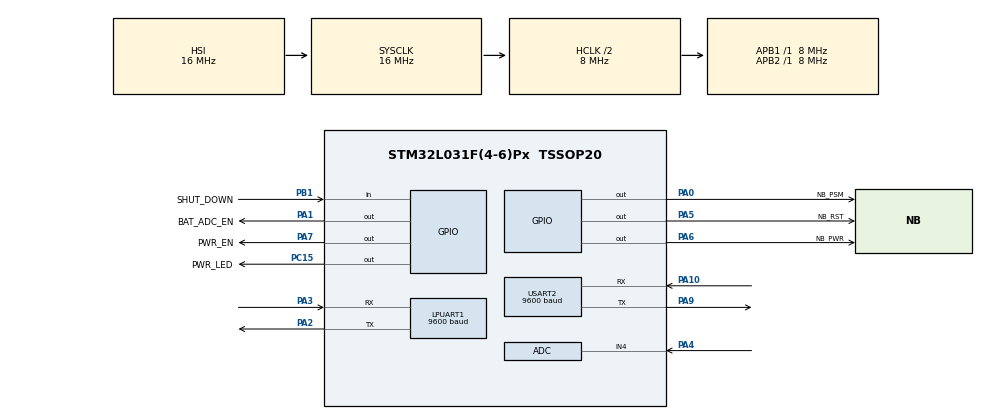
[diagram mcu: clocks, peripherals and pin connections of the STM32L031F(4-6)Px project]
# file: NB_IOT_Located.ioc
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ADC.ContinuousConvMode=ENABLE
ADC.LowPowerAutoPowerOff=ENABLE
ADC.LowPowerAutoWait=ENABLE
ADC.SamplingTime=ADC_SAMPLETIME_160CYCLES_5
LPUART1.BaudRate=9600
LPUART1.WordLength=UART_WORDLENGTH_8B
Mcu.Family=STM32L0
Mcu.Name=STM32L031F(4-6)Px
Mcu.Package=TSSOP20
NVIC.LPUART1_IRQn=true\:0\:0\:false\:false\:true\:true\:true\:true
NVIC.USART2_IRQn=true\:0\:0\:false\:false\:true\:true\:true\:true
PA0-CK_IN.GPIO_Label=NB_PSM
PA0-CK_IN.Signal=GPIO_Output
PA1.GPIO_Label=BAT_ADC_EN
PA1.Signal=GPIO_Output
PA10.Mode=Asynchronous
PA10.Signal=USART2_RX
PA13.Mode=Serial_Wire
PA13.Signal=SYS_SWDIO
PA14.Mode=Serial_Wire
PA14.Signal=SYS_SWCLK
PA2.Mode=Asynchronous
PA2.Signal=LPUART1_TX
PA3.Mode=Asynchronous
PA3.Signal=LPUART1_RX
PA4.Mode=IN4
PA4.Signal=ADC_IN4
PA5.GPIO_Label=NB_RST
PA5.Signal=GPIO_Output
PA6.GPIO_Label=NB_PWR
PA6.Signal=GPIO_Output
PA7.GPIO_Label=PWR_EN
PA7.Signal=GPIO_Output
PA9.Mode=Asynchronous
PA9.Signal=USART2_TX
PB1.GPIO_Label=SHUT_DOWN
PB1.GPIO_PuPd=GPIO_PULLUP
PB1.Signal=GPIO_Input
PC15-OSC32_OUT.GPIO_Label=PWR_LED
PC15-OSC32_OUT.PinState=GPIO_PIN_SET
PC15-OSC32_OUT.Signal=GPIO_Output
ProjectManager.HeapSize=0x200
ProjectManager.StackSize=0x400
ProjectManager.TargetToolchain=MDK-ARM V5
RCC.AHBCLKDivider=RCC_SYSCLK_DIV2
RCC.AHBFreq_Value=8000000
RCC.APB1Freq_Value=8000000
RCC.APB1TimFreq_Value=8000000
RCC.APB2Freq_Value=8000000
RCC.APB2TimFreq_Value=8000000
RCC.HCLKFreq_Value=8000000
RCC.HSE_VALUE=8000000
RCC.HSI16_VALUE=16000000
RCC.HSI_VALUE=16000000
RCC.LSE_VALUE=32768
RCC.MSI_VALUE=2097000
RCC.SYSCLKFreq_VALUE=16000000
RCC.SYSCLKSource=RCC_SYSCLKSOURCE_HSI
RCC.VCOOutputFreq_Value=48000000
USART2.BaudRate=9600
USART2.VirtualMode-Asynchronous=VM_ASYNC
VP_ADC_Vref_Input.Mode=IN-Vrefint
board=custom

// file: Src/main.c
/* USER CODE BEGIN Header */
/**
  ******************************************************************************
  * @file           : main.c
  * @brief          : Main program body
  ******************************************************************************
  * @attention
  *
  * Copyright (c) 2022 STMicroelectronics.
  * All rights reserved.
  *
  * This software is licensed under terms that can be found in the LICENSE file
  * in the root directory of this software component.
  * If no LICENSE file comes with this software, it is provided AS-IS.
  *
  ******************************************************************************
  */
/* USER CODE END Header */
#include "main.h"

/* USER CODE BEGIN Includes */
#include "stdio.h"
#include "string.h"
/* USER CODE END Includes */

 ADC_HandleTypeDef hadc;

UART_HandleTypeDef hlpuart1;
UART_HandleTypeDef huart2;

/* USER CODE BEGIN PV */
extern uint8_t Res2_Buf[256];
extern uint8_t Res2_Sign;
extern uint8_t Res2_Count;
extern uint8_t Res2;

extern uint8_t Res1_Buf[256];
extern uint8_t Res1_Sign;
extern uint8_t Res1_Count;
extern uint8_t Res1;

uint16_t BAT_DATA;
float BAT_Value;
float VDDA_Value;
uint16_t VREFINT_CAL;
uint16_t VREFINT_DATA;
uint8_t BAT_Q;
uint8_t NB_Signal_Value;

uint8_t NB_OBSERVERSP_CMD[50] = "AT+MIPLOBSERVERSP=0,";
uint8_t NB_DISCOVERRSP_CMD[50] = "AT+MIPLDISCOVERRSP=0,";
uint8_t NB_NOTIFY5700_CMD[60] = "AT+MIPLNOTIFY=0,";	// battery
uint8_t NB_NOTIFY5513_CMD[60] = "AT+MIPLNOTIFY=0,";	// latitude
uint8_t NB_NOTIFY5514_CMD[60] = "AT+MIPLNOTIFY=0,";	// longitude
uint8_t NB_OB3320_count;	// the number of bits of subscription request
uint8_t NB_OB3336_count;
uint8_t onenet_ok = 0;
uint32_t temp_int;
float temp_float;
uint32_t lat_int;	// get latitude dd
float lat_float;	// get latitude mm
uint32_t lng_int;	// get longitude dd
float lng_float;	// get longitude mm
uint8_t shutdown = 0;
/* USER CODE END PV */

void SystemClock_Config(void);
static void MX_GPIO_Init(void);
static void MX_ADC_Init(void);
static void MX_LPUART1_UART_Init(void);
static void MX_USART2_UART_Init(void);
/* USER CODE BEGIN PFP */
void Get_BAT_Value(void);
uint8_t Send_Cmd(uint8_t *cmd, uint8_t len, char *recdata);
void NB_Rec_Handler(void);
/* USER CODE END PFP */

/* USER CODE BEGIN 0 */
int fputc(int ch, FILE *f)
{
	while((USART2->ISR & 0X40) == 0);
	USART2->TDR = (uint8_t)ch;
	return ch;
}
/* USER CODE END 0 */

int main(void)
{
  /* USER CODE BEGIN 1 */
	uint16_t main_count = 0;
	uint8_t i = 0;
	float temp;
  /* USER CODE END 1 */

  /* MCU Configuration--------------------------------------------------------*/

  /* Reset of all peripherals, Initializes the Flash interface and the Systick. */
  HAL_Init();

  /* Configure the system clock */
  SystemClock_Config();

  /* Initialize all configured peripherals */
  MX_GPIO_Init();
  MX_ADC_Init();
  MX_LPUART1_UART_Init();
  MX_USART2_UART_Init();
  /* USER CODE BEGIN 2 */
  HAL_GPIO_WritePin(PWR_LED_GPIO_Port, PWR_LED_Pin, GPIO_PIN_RESET); // light up the power indicator
  HAL_GPIO_WritePin(GPIOA, PWR_EN_Pin, GPIO_PIN_SET); // maintain power
	while(HAL_GPIO_ReadPin(GPIOB, GPIO_PIN_1) == 0);
	HAL_GPIO_WritePin(GPIOA, NB_PWR_Pin, GPIO_PIN_SET);	// getting the bc20 module to power on
	HAL_Delay(600);
	HAL_GPIO_WritePin(GPIOA, NB_PWR_Pin, GPIO_PIN_RESET);
	HAL_GPIO_WritePin(GPIOA, NB_RST_Pin, GPIO_PIN_SET);	// getting the bc20 module to restart
	HAL_Delay(60);
	HAL_GPIO_WritePin(GPIOA, NB_RST_Pin, GPIO_PIN_RESET);
  HAL_Delay(10000);
	// verify that bc20 is normal
	while(Send_Cmd((uint8_t *)"AT\r\n", 4, "OK") != 0)
	{
		HAL_Delay(1000);
	}
	printf("received correctly\r\n");
	// close the echo
	while(Send_Cmd((uint8_t *)"ATE0\r\n", 6, "OK") != 0)
	{
		HAL_Delay(1000);
	}
	printf("the echo is disabled\r\n");
	// detect signal
	NB_Signal_Value = 0;
	while((NB_Signal_Value == 0) || (NB_Signal_Value == 99))
	{
		if(Send_Cmd((uint8_t *)"AT+CSQ\r\n", 8, "OK") == 0)
		{
			if(Res1_Buf[2] == '+')
			{
				if(Res1_Buf[9] == ',') // the signal value is in digits
				{
					NB_Signal_Value = Res1_Buf[8] - 0x30;
				}
				else if(Res1_Buf[10] == ',') // the signal value is ten digits
				{
					NB_Signal_Value = (Res1_Buf[8] - 0x30) * 10 + (Res1_Buf[9] - 0x30);
				}
			}
		}
		HAL_Delay(1000);
		// if power off is needed
		if(HAL_GPIO_ReadPin(GPIOB, GPIO_PIN_1) == 0) {
			HAL_GPIO_WritePin(PWR_LED_GPIO_Port, PWR_LED_Pin, GPIO_PIN_SET); // extinguish the power indicator
			while(HAL_GPIO_ReadPin(GPIOB, GPIO_PIN_1) == 0);
			HAL_GPIO_WritePin(GPIOA, PWR_EN_Pin, GPIO_PIN_RESET); // turn off power
		}
	}
	printf("NB_Signal_Value = %d\r\n", NB_Signal_Value);
	// wait until eps network is successfully registered
	while(Send_Cmd((uint8_t *)"AT+CEREG?\r\n", 11, "+CEREG: 0,1") != 0)
	{
		HAL_Delay(1000);
	}
	printf("the eps network is successfully registered\r\n");
	// wait for ps to attach
	while(Send_Cmd((uint8_t *)"AT+CGATT?\r\n", 11, "+CGATT: 1") != 0)
	{
		HAL_Delay(1000);
	}
	printf("the ps has attached\r\n");
	// turn on the GNSS power
	while(Send_Cmd((uint8_t *)"AT+QGNSSC=1\r\n", 13, "OK") != 0)
	{
		HAL_Delay(1000);
	}
	printf("the GNSS open command has been sent\r\n");
	// check whether the GNSS power supply is turned on
	while(Send_Cmd((uint8_t *)"AT+QGNSSC?\r\n", 12, "+QGNSSC: 1") != 0)
	{
		HAL_Delay(1000);
	}
	printf("the GNSS is powered on\r\n");
	// create communication suit instance
	Send_Cmd((uint8_t *)"AT+MIPLCREATE\r\n", 15, "OK");
	HAL_Delay(100);
	// add 3320 object
	Send_Cmd((uint8_t *)"AT+MIPLADDOBJ=0,3320,1,\"1\",1,0\r\n", 32, "OK");
	// add 3336 object
	Send_Cmd((uint8_t *)"AT+MIPLADDOBJ=0,3336,1,\"1\",2,0\r\n", 32, "OK");
	HAL_Delay(100);
	// send a registration request to OneNet
	Send_Cmd((uint8_t *)"AT+MIPLOPEN=0,86400\r\n", 21, "OK");
  /* USER CODE END 2 */

  /* Infinite loop */
  while (1)
  {

    /* USER CODE BEGIN 3 */
		if(Res2_Sign == 1)	// if data is sent by computer
		{
			// recieve the last byte and delay 10ms
			do {
				Res2++;
				HAL_Delay(1);
			} while(Res2 < 10);
			////////////////////////////
			Res2_Sign = 0;
			HAL_UART_Transmit(&hlpuart1, Res2_Buf, Res2_Count, 1000);	// send the received data to nb module
			Res2_Count = 0;
		}

		if(Res1_Sign == 1)	// if data is sent by bc20 module
		{
			// recieve the last byte and delay 10ms
			do {
				Res1++;
				HAL_Delay(1);
			} while(Res1 < 10);
			////////////////////////////
			Res1_Sign = 0;
			HAL_UART_Transmit(&huart2, Res1_Buf, Res1_Count, 1000);		// send the received data to serial assistant
			Res1_Count = 0;
			NB_Rec_Handler();
		}
		// if power off is needed
		if(HAL_GPIO_ReadPin(GPIOB, GPIO_PIN_1) == 0) {
			HAL_GPIO_WritePin(PWR_LED_GPIO_Port, PWR_LED_Pin, GPIO_PIN_SET); // extinguish the power indicator
			while(HAL_GPIO_ReadPin(GPIOB, GPIO_PIN_1) == 0);
			HAL_GPIO_WritePin(GPIOA, PWR_EN_Pin, GPIO_PIN_RESET); // turn off power
		}

		main_count++;
		HAL_Delay(0);
		if(main_count > 1000)
		{
			main_count = 0;
			Get_BAT_Value();
			temp = 0;
			for(i = 0; i < 10; i++)
			{
				Get_BAT_Value();
				temp += BAT_Value;
			}
			BAT_Value = temp / 10;
			if (BAT_Value > 4.1)
				BAT_Q = 100;
			else if(BAT_Value < 3.0)
			{
				BAT_Q = 0;
				shutdown++;
				if(shutdown > 2)
				{
					HAL_GPIO_WritePin(GPIOA, PWR_EN_Pin, GPIO_PIN_RESET); // turn off power
				}
			}
			else
			{
				BAT_Q = 100 - (4.1-BAT_Value) * 100 / 1.1;
			}
			if(onenet_ok == 2) // if it has successfully registered with onenet
			{
				NB_NOTIFY5700_CMD[33+NB_OB3320_count] = BAT_Q/100+0x30;
				NB_NOTIFY5700_CMD[34+NB_OB3320_count] = BAT_Q%100/10+0x30;
				NB_NOTIFY5700_CMD[35+NB_OB3320_count] = BAT_Q%10+0x30;
				Send_Cmd(NB_NOTIFY5700_CMD, 42+NB_OB3320_count, "OK");
				//
				HAL_UART_Transmit(&hlpuart1, (uint8_t *)"AT+QGNSSRD=\"NMEA/RMC\"\r\n", 23, 1000);
			}
			//printf("VDDA_Value = %.2f\r\n", VDDA_Value);
			//printf("BAT_Value = %.2f\r\n", BAT_Value);
			//printf("BAT_Q = %d\r\n", BAT_Q);
		}
  }
  /* USER CODE END 3 */
}

void SystemClock_Config(void)
{
  RCC_OscInitTypeDef RCC_OscInitStruct = {0};
  RCC_ClkInitTypeDef RCC_ClkInitStruct = {0};
  RCC_PeriphCLKInitTypeDef PeriphClkInit = {0};

  /** Configure the main internal regulator output voltage
  */
  __HAL_PWR_VOLTAGESCALING_CONFIG(PWR_REGULATOR_VOLTAGE_SCALE1);

  /** Initializes the RCC Oscillators according to the specified parameters
  * in the RCC_OscInitTypeDef structure.
  */
  RCC_OscInitStruct.OscillatorType = RCC_OSCILLATORTYPE_HSI;
  RCC_OscInitStruct.HSIState = RCC_HSI_ON;
  RCC_OscInitStruct.HSICalibrationValue = RCC_HSICALIBRATION_DEFAULT;
  RCC_OscInitStruct.PLL.PLLState = RCC_PLL_NONE;
  if (HAL_RCC_OscConfig(&RCC_OscInitStruct) != HAL_OK)
  {
    Error_Handler();
  }

  /** Initializes the CPU, AHB and APB buses clocks
  */
  RCC_ClkInitStruct.ClockType = RCC_CLOCKTYPE_HCLK|RCC_CLOCKTYPE_SYSCLK
                              |RCC_CLOCKTYPE_PCLK1|RCC_CLOCKTYPE_PCLK2;
  RCC_ClkInitStruct.SYSCLKSource = RCC_SYSCLKSOURCE_HSI;
  RCC_ClkInitStruct.AHBCLKDivider = RCC_SYSCLK_DIV2;
  RCC_ClkInitStruct.APB1CLKDivider = RCC_HCLK_DIV1;
  RCC_ClkInitStruct.APB2CLKDivider = RCC_HCLK_DIV1;

  if (HAL_RCC_ClockConfig(&RCC_ClkInitStruct, FLASH_LATENCY_0) != HAL_OK)
  {
    Error_Handler();
  }
  PeriphClkInit.PeriphClockSelection = RCC_PERIPHCLK_USART2|RCC_PERIPHCLK_LPUART1;
  PeriphClkInit.Usart2ClockSelection = RCC_USART2CLKSOURCE_PCLK1;
  PeriphClkInit.Lpuart1ClockSelection = RCC_LPUART1CLKSOURCE_PCLK1;
  if (HAL_RCCEx_PeriphCLKConfig(&PeriphClkInit) != HAL_OK)
  {
    Error_Handler();
  }
}

static void MX_ADC_Init(void)
{

  /* USER CODE BEGIN ADC_Init 0 */
	uint8_t i = 0;
  /* USER CODE END ADC_Init 0 */

  ADC_ChannelConfTypeDef sConfig = {0};

  /** Configure the global features of the ADC (Clock, Resolution, Data Alignment and number of conversion)
  */
  hadc.Instance = ADC1;
  hadc.Init.OversamplingMode = DISABLE;
  hadc.Init.ClockPrescaler = ADC_CLOCK_SYNC_PCLK_DIV2;
  hadc.Init.Resolution = ADC_RESOLUTION_12B;
  hadc.Init.SamplingTime = ADC_SAMPLETIME_160CYCLES_5;
  hadc.Init.ScanConvMode = ADC_SCAN_DIRECTION_FORWARD;
  hadc.Init.DataAlign = ADC_DATAALIGN_RIGHT;
  hadc.Init.ContinuousConvMode = ENABLE;
  hadc.Init.DiscontinuousConvMode = DISABLE;
  hadc.Init.ExternalTrigConvEdge = ADC_EXTERNALTRIGCONVEDGE_NONE;
  hadc.Init.ExternalTrigConv = ADC_SOFTWARE_START;
  hadc.Init.DMAContinuousRequests = DISABLE;
  hadc.Init.EOCSelection = ADC_EOC_SINGLE_CONV;
  hadc.Init.Overrun = ADC_OVR_DATA_PRESERVED;
  hadc.Init.LowPowerAutoWait = ENABLE;
  hadc.Init.LowPowerFrequencyMode = DISABLE;
  hadc.Init.LowPowerAutoPowerOff = ENABLE;
  if (HAL_ADC_Init(&hadc) != HAL_OK)
  {
    Error_Handler();
  }

  /** Configure for the selected ADC regular channel to be converted.
  */
  sConfig.Channel = ADC_CHANNEL_4;
  sConfig.Rank = ADC_RANK_CHANNEL_NUMBER;
  if (HAL_ADC_ConfigChannel(&hadc, &sConfig) != HAL_OK)
  {
    Error_Handler();
  }

  /** Configure for the selected ADC regular channel to be converted.
  */
  sConfig.Channel = ADC_CHANNEL_VREFINT;
  if (HAL_ADC_ConfigChannel(&hadc, &sConfig) != HAL_OK)
  {
    Error_Handler();
  }
  /* USER CODE BEGIN ADC_Init 2 */
	ADC1->CR |= ADC_CR_ADCAL;
	i = 0;
	while(((ADC1->ISR & ADC_ISR_EOCAL) != ADC_ISR_EOCAL) && (i < 10))
	{
		i++;
		HAL_Delay(1);
	}
	if(i == 10)
	{
		printf("ADC初始化校准失败!\r\n");
	}
	ADC1->ISR |= ADC_ISR_EOCAL;
	VREFINT_CAL = *(uint16_t *)0x1FF80078;
	ADC1->CR |= ADC_CR_ADSTART;
  /* USER CODE END ADC_Init 2 */

}

static void MX_LPUART1_UART_Init(void)
{

  hlpuart1.Instance = LPUART1;
  hlpuart1.Init.BaudRate = 9600;
  hlpuart1.Init.WordLength = UART_WORDLENGTH_8B;
  hlpuart1.Init.StopBits = UART_STOPBITS_1;
  hlpuart1.Init.Parity = UART_PARITY_NONE;
  hlpuart1.Init.Mode = UART_MODE_TX_RX;
  hlpuart1.Init.HwFlowCtl = UART_HWCONTROL_NONE;
  hlpuart1.Init.OneBitSampling = UART_ONE_BIT_SAMPLE_DISABLE;
  hlpuart1.AdvancedInit.AdvFeatureInit = UART_ADVFEATURE_NO_INIT;
  if (HAL_UART_Init(&hlpuart1) != HAL_OK)
  {
    Error_Handler();
  }
  /* USER CODE BEGIN LPUART1_Init 2 */
	__HAL_UART_ENABLE_IT(&hlpuart1, UART_IT_RXNE); // 打开串口1接收中断
  /* USER CODE END LPUART1_Init 2 */

}

static void MX_USART2_UART_Init(void)
{

  huart2.Instance = USART2;
  huart2.Init.BaudRate = 9600;
  huart2.Init.WordLength = UART_WORDLENGTH_8B;
  huart2.Init.StopBits = UART_STOPBITS_1;
  huart2.Init.Parity = UART_PARITY_NONE;
  huart2.Init.Mode = UART_MODE_TX_RX;
  huart2.Init.HwFlowCtl = UART_HWCONTROL_NONE;
  huart2.Init.OverSampling = UART_OVERSAMPLING_16;
  huart2.Init.OneBitSampling = UART_ONE_BIT_SAMPLE_DISABLE;
  huart2.AdvancedInit.AdvFeatureInit = UART_ADVFEATURE_NO_INIT;
  if (HAL_UART_Init(&huart2) != HAL_OK)
  {
    Error_Handler();
  }
  /* USER CODE BEGIN USART2_Init 2 */
  __HAL_UART_ENABLE_IT(&huart2, UART_IT_RXNE); // 打开串口2接收中断
  /* USER CODE END USART2_Init 2 */

}

static void MX_GPIO_Init(void)
{
  GPIO_InitTypeDef GPIO_InitStruct = {0};

  /* GPIO Ports Clock Enable */
  __HAL_RCC_GPIOC_CLK_ENABLE();
  __HAL_RCC_GPIOA_CLK_ENABLE();
  __HAL_RCC_GPIOB_CLK_ENABLE();

  /*Configure GPIO pin Output Level */
  HAL_GPIO_WritePin(PWR_LED_GPIO_Port, PWR_LED_Pin, GPIO_PIN_SET);

  /*Configure GPIO pin Output Level */
  HAL_GPIO_WritePin(GPIOA, NB_PSM_Pin|BAT_ADC_EN_Pin|NB_RST_Pin|NB_PWR_Pin
                          |PWR_EN_Pin, GPIO_PIN_RESET);

  /*Configure GPIO pin : PWR_LED_Pin */
  GPIO_InitStruct.Pin = PWR_LED_Pin;
  GPIO_InitStruct.Mode = GPIO_MODE_OUTPUT_PP;
  GPIO_InitStruct.Pull = GPIO_NOPULL;
  GPIO_InitStruct.Speed = GPIO_SPEED_FREQ_LOW;
  HAL_GPIO_Init(PWR_LED_GPIO_Port, &GPIO_InitStruct);

  /*Configure GPIO pins : NB_PSM_Pin BAT_ADC_EN_Pin NB_RST_Pin NB_PWR_Pin
                           PWR_EN_Pin */
  GPIO_InitStruct.Pin = NB_PSM_Pin|BAT_ADC_EN_Pin|NB_RST_Pin|NB_PWR_Pin
                          |PWR_EN_Pin;
  GPIO_InitStruct.Mode = GPIO_MODE_OUTPUT_PP;
  GPIO_InitStruct.Pull = GPIO_NOPULL;
  GPIO_InitStruct.Speed = GPIO_SPEED_FREQ_LOW;
  HAL_GPIO_Init(GPIOA, &GPIO_InitStruct);

  /*Configure GPIO pin : SHUT_DOWN_Pin */
  GPIO_InitStruct.Pin = SHUT_DOWN_Pin;
  GPIO_InitStruct.Mode = GPIO_MODE_INPUT;
  GPIO_InitStruct.Pull = GPIO_PULLUP;
  HAL_GPIO_Init(SHUT_DOWN_GPIO_Port, &GPIO_InitStruct);

}

/* USER CODE BEGIN 4 */
void Get_BAT_Value(void)
{
	uint8_t i;
	i = 0;
	while(((ADC1->ISR & ADC_ISR_EOC) != ADC_ISR_EOC) && (i < 10))
	{
		i++;
		HAL_Delay(1);
	}
	if (i == 10)
	{
		printf("通道4转换失败！\r\n");
	}
	BAT_DATA = ADC1->DR;
	i = 0;
	while(((ADC1->ISR & ADC_ISR_EOC) != ADC_ISR_EOC) && (i < 10))
	{
		i++;
		HAL_Delay(1);
	}
	if (i == 10)
	{
		printf("通道17转换失败！\r\n");
	}
	VREFINT_DATA = ADC1->DR;
	VDDA_Value = 3.0 * VREFINT_CAL / VREFINT_DATA;
	BAT_Value = VDDA_Value * BAT_DATA / 2048;
}

// cmd: indicates the command to be sent
// len: indicates the length of command
// recdata: indicates if the received data has this string in it
// ret: 0 means correct, 1 means no response was received, 2 means a response was received but the response is not correct.
uint8_t Send_Cmd(uint8_t *cmd, uint8_t len, char *recdata)
{
	uint8_t ret;
	uint16_t count = 0;

	memset(Res1_Buf, 0, strlen((const char *)Res1_Buf));

	HAL_UART_Transmit(&hlpuart1, cmd, len, 1000);	// send command to nb module
	while((Res1_Sign == 0) && (count < 300))
	{
		count++;
		HAL_Delay(1);
	}
	if(count == 300) // timeout
	{
		ret = 1;	// no response received from bc20
	}
	else // response received
	{
		// recieve the last byte and delay 10ms
		do {
			Res1++;
			HAL_Delay(1);
		} while(Res1 < 10);
		//////////////////////
		HAL_UART_Transmit(&huart2, Res1_Buf, Res1_Count, 1000);		// send the received data to serial assistant
		Res1_Sign = 0;
		Res1_Count = 0;
		ret = 2;
		if(strstr((const char *)Res1_Buf, recdata))	// if the received data has this string in it
		{
			ret = 0;	// response received correctly
		}
	}
	return ret;
}
// process the return data of NB
void NB_Rec_Handler(void)
{
	uint8_t i, j;
	// received subscription request
	if(strstr((const char *)Res1_Buf, "+MIPLOBSERVE:"))
	{
		if(Res1_Buf[17] == ',')
		{
			i = 0;
			while(Res1_Buf[18+i]!=',')
			{
				i++;
				if(i > 10)
					break;
			}
			if(i>10)
			{
				printf("+MIPLOBSERVE data acceptance error\r\n");
			}
			else
			{
				if(strstr((const char *)Res1_Buf, "3320"))
				{
					for(j = 0; j < i; j++)
					{
						NB_OBSERVERSP_CMD[20+j] = Res1_Buf[18+j];
						NB_NOTIFY5700_CMD[16+j] = Res1_Buf[18+j];
					}
					NB_NOTIFY5700_CMD[16+j] = ',';
					NB_NOTIFY5700_CMD[17+j] = '3';
					NB_NOTIFY5700_CMD[18+j] = '3';
					NB_NOTIFY5700_CMD[19+j] = '2';
					NB_NOTIFY5700_CMD[20+j] = '0';
					NB_NOTIFY5700_CMD[21+j] = ',';
					NB_NOTIFY5700_CMD[22+j] = '0';
					NB_NOTIFY5700_CMD[23+j] = ',';
					NB_NOTIFY5700_CMD[24+j] = '5';
					NB_NOTIFY5700_CMD[25+j] = '7';
					NB_NOTIFY5700_CMD[26+j] = '0';
					NB_NOTIFY5700_CMD[27+j] = '0';
					NB_NOTIFY5700_CMD[28+j] = ',';
					NB_NOTIFY5700_CMD[29+j] = '4';
					NB_NOTIFY5700_CMD[30+j] = ',';
					NB_NOTIFY5700_CMD[31+j] = '4';
					NB_NOTIFY5700_CMD[32+j] = ',';
					NB_NOTIFY5700_CMD[36+j] = ',';
					NB_NOTIFY5700_CMD[37+j] = '0';
					NB_NOTIFY5700_CMD[38+j] = ',';
					NB_NOTIFY5700_CMD[39+j] = '0';
					NB_NOTIFY5700_CMD[40+j] = '\r';
					NB_NOTIFY5700_CMD[41+j] = '\n';
					NB_OB3320_count = j;
				}
				else if(strstr((const char *)Res1_Buf, "3336"))
				{
					for(j = 0; j < i; j++)
					{
						NB_OBSERVERSP_CMD[20+j] = Res1_Buf[18+j];
						NB_NOTIFY5513_CMD[16+j] = Res1_Buf[18+j];
						NB_NOTIFY5514_CMD[16+j] = Res1_Buf[18+j];
					}
					// 5513
					NB_NOTIFY5513_CMD[16+j] = ',';
					NB_NOTIFY5513_CMD[17+j] = '3';
					NB_NOTIFY5513_CMD[18+j] = '3';
					NB_NOTIFY5513_CMD[19+j] = '3';
					NB_NOTIFY5513_CMD[20+j] = '6';
					NB_NOTIFY5513_CMD[21+j] = ',';
					NB_NOTIFY5513_CMD[22+j] = '0';
					NB_NOTIFY5513_CMD[23+j] = ',';
					NB_NOTIFY5513_CMD[24+j] = '5';
					NB_NOTIFY5513_CMD[25+j] = '5';
					NB_NOTIFY5513_CMD[26+j] = '1';
					NB_NOTIFY5513_CMD[27+j] = '3';
					NB_NOTIFY5513_CMD[28+j] = ',';
					NB_NOTIFY5513_CMD[29+j] = '1';
					NB_NOTIFY5513_CMD[30+j] = ',';
					NB_NOTIFY5513_CMD[31+j] = '9';
					NB_NOTIFY5513_CMD[32+j] = ',';
					NB_NOTIFY5513_CMD[33+j] = '\"';
					NB_NOTIFY5513_CMD[43+j] = '\"';
					NB_NOTIFY5513_CMD[44+j] = ',';
					NB_NOTIFY5513_CMD[45+j] = '1';
					NB_NOTIFY5513_CMD[46+j] = ',';
					NB_NOTIFY5513_CMD[47+j] = '0';
					NB_NOTIFY5513_CMD[48+j] = '\r';
					NB_NOTIFY5513_CMD[49+j] = '\n';
					// 5514
					NB_NOTIFY5514_CMD[16+j] = ',';
					NB_NOTIFY5514_CMD[17+j] = '3';
					NB_NOTIFY5514_CMD[18+j] = '3';
					NB_NOTIFY5514_CMD[19+j] = '3';
					NB_NOTIFY5514_CMD[20+j] = '6';
					NB_NOTIFY5514_CMD[21+j] = ',';
					NB_NOTIFY5514_CMD[22+j] = '0';
					NB_NOTIFY5514_CMD[23+j] = ',';
					NB_NOTIFY5514_CMD[24+j] = '5';
					NB_NOTIFY5514_CMD[25+j] = '5';
					NB_NOTIFY5514_CMD[26+j] = '1';
					NB_NOTIFY5514_CMD[27+j] = '4';
					NB_NOTIFY5514_CMD[28+j] = ',';
					NB_NOTIFY5514_CMD[29+j] = '1';
					NB_NOTIFY5514_CMD[30+j] = ',';
					NB_NOTIFY5514_CMD[31+j] = '1';
					NB_NOTIFY5514_CMD[32+j] = '0';
					NB_NOTIFY5514_CMD[33+j] = ',';
					NB_NOTIFY5514_CMD[34+j] = '\"';
					NB_NOTIFY5514_CMD[45+j] = '\"';
					NB_NOTIFY5514_CMD[46+j] = ',';
					NB_NOTIFY5514_CMD[47+j] = '0';
					NB_NOTIFY5514_CMD[48+j] = ',';
					NB_NOTIFY5514_CMD[49+j] = '0';
					NB_NOTIFY5514_CMD[50+j] = '\r';
					NB_NOTIFY5514_CMD[51+j] = '\n';
					NB_OB3336_count = j;
				}
				NB_OBSERVERSP_CMD[20+j] = ',';
				NB_OBSERVERSP_CMD[21+j] = '1';
				NB_OBSERVERSP_CMD[22+j] = '\r';
				NB_OBSERVERSP_CMD[23+j] = '\n';
				Send_Cmd(NB_OBSERVERSP_CMD, 24+j, "OK");
			}
		}
	}
	// received resource request
	else if(strstr((const char *)Res1_Buf, "+MIPLDISCOVER:"))
	{
		if(Res1_Buf[18] == ',')
		{
			i = 0;
			while(Res1_Buf[19+i]!=',')
			{
				i++;
				if(i > 10)
					break;
			}
			if(i>10)
			{
				printf("+MIPLDISCOVER data acceptance error\r\n");
			}
			else
			{
				for(j = 0; j < i; j++)
				{
					NB_DISCOVERRSP_CMD[21+j] = Res1_Buf[19+j];
				}
				if(strstr((const char *)Res1_Buf, "3336"))
				{
					NB_DISCOVERRSP_CMD[21+j] = ',';
					NB_DISCOVERRSP_CMD[22+j] = '1';
					NB_DISCOVERRSP_CMD[23+j] = ',';
					NB_DISCOVERRSP_CMD[24+j] = '9';
					NB_DISCOVERRSP_CMD[25+j] = ',';
					NB_DISCOVERRSP_CMD[26+j] = '\"';
					NB_DISCOVERRSP_CMD[27+j] = '5';
					NB_DISCOVERRSP_CMD[28+j] = '5';
					NB_DISCOVERRSP_CMD[29+j] = '1';
					NB_DISCOVERRSP_CMD[30+j] = '3';
					NB_DISCOVERRSP_CMD[31+j] = ';';
					NB_DISCOVERRSP_CMD[32+j] = '5';
					NB_DISCOVERRSP_CMD[33+j] = '5';
					NB_DISCOVERRSP_CMD[34+j] = '1';
					NB_DISCOVERRSP_CMD[35+j] = '4';
					NB_DISCOVERRSP_CMD[36+j] = '\"';
					NB_DISCOVERRSP_CMD[37+j] = '\r';
					NB_DISCOVERRSP_CMD[38+j] = '\n';
					Send_Cmd(NB_DISCOVERRSP_CMD, 39+j, "OK");
					onenet_ok++;
				}
				else if(strstr((const char *)Res1_Buf, "3320"))
				{
					NB_DISCOVERRSP_CMD[21+j] = ',';
					NB_DISCOVERRSP_CMD[22+j] = '1';
					NB_DISCOVERRSP_CMD[23+j] = ',';
					NB_DISCOVERRSP_CMD[24+j] = '4';
					NB_DISCOVERRSP_CMD[25+j] = ',';
					NB_DISCOVERRSP_CMD[26+j] = '\"';
					NB_DISCOVERRSP_CMD[27+j] = '5';
					NB_DISCOVERRSP_CMD[28+j] = '7';
					NB_DISCOVERRSP_CMD[29+j] = '0';
					NB_DISCOVERRSP_CMD[30+j] = '0';
					NB_DISCOVERRSP_CMD[31+j] = '\"';
					NB_DISCOVERRSP_CMD[32+j] = '\r';
					NB_DISCOVERRSP_CMD[33+j] = '\n';
					Send_Cmd(NB_DISCOVERRSP_CMD, 34+j, "OK");
					onenet_ok++;
				}

			}
		}
	}
	// received GNSS information
	if(strstr((const char *)Res1_Buf, "+QGNSSRD:"))
	{
		// if latitude and longitude is getted
		if(Res1_Buf[29] == 'A')
		{
			// get latitude
			temp_int = (Res1_Buf[33]-0x30) * 100000
				+ (Res1_Buf[34]-0x30) * 10000
				+ (Res1_Buf[36]-0x30) * 1000
				+ (Res1_Buf[37]-0x30) * 100
				+ (Res1_Buf[38]-0x30) * 10
				+ (Res1_Buf[39]-0x30);	// 487157
			temp_float = (float)temp_int / 600000;	// 487157/600000=0.811928
			lat_int = (Res1_Buf[31]-0x30) * 10 + (Res1_Buf[32]-0x30);	// 37
			lat_float = temp_float + (float)lat_int;	// 37.811928
			lat_float = lat_float * 1000000;	// 37811928.0
			lat_int = lat_float;	// 37811928
			NB_NOTIFY5513_CMD[34+NB_OB3336_count] = lat_int/10000000 + 0x30;	// 3
			NB_NOTIFY5513_CMD[35+NB_OB3336_count] = lat_int%10000000/1000000 + 0x30;	// 7
			NB_NOTIFY5513_CMD[36+NB_OB3336_count] = '.';	// .
			NB_NOTIFY5513_CMD[37+NB_OB3336_count] = lat_int%1000000/100000 + 0x30;	// 8
			NB_NOTIFY5513_CMD[38+NB_OB3336_count] = lat_int%100000/10000 + 0x30;	// 1
			NB_NOTIFY5513_CMD[39+NB_OB3336_count] = lat_int%10000/1000 + 0x30;	// 1
			NB_NOTIFY5513_CMD[40+NB_OB3336_count] = lat_int%1000/100 + 0x30;	// 9
			NB_NOTIFY5513_CMD[41+NB_OB3336_count] = lat_int%100/10 + 0x30;	// 2
			NB_NOTIFY5513_CMD[42+NB_OB3336_count] = lat_int%10/1 + 0x30;	// 8
			printf("latitude=%d\r\n", lat_int);
			// get longitude
			temp_int = (Res1_Buf[46]-0x30) * 100000
				+ (Res1_Buf[47]-0x30) * 10000
				+ (Res1_Buf[49]-0x30) * 1000
				+ (Res1_Buf[50]-0x30) * 100
				+ (Res1_Buf[51]-0x30) * 10
				+ (Res1_Buf[52]-0x30);	// 387823
			temp_float = (float)temp_int / 600000;	// 387823/600000=0.646372
			lng_int = (Res1_Buf[43]-0x30) * 100
				+ (Res1_Buf[44]-0x30) * 10
				+ (Res1_Buf[45]-0x30);	// 112
			lng_float = temp_float + (float)lng_int;	// 112.646372
			lng_float = lng_float * 1000000;	// 112646372.0
			lng_int = lng_float;	// 112646372
			NB_NOTIFY5514_CMD[35+NB_OB3336_count] = lng_int/100000000 + 0x30;	// 1
			NB_NOTIFY5514_CMD[36+NB_OB3336_count] = lng_int%100000000/10000000 + 0x30;	// 1
			NB_NOTIFY5514_CMD[37+NB_OB3336_count] = lng_int%10000000/1000000 + 0x30;	// 2
			NB_NOTIFY5514_CMD[38+NB_OB3336_count] = '.';	// .
			NB_NOTIFY5514_CMD[39+NB_OB3336_count] = lng_int%1000000/100000 + 0x30;	// 6
			NB_NOTIFY5514_CMD[40+NB_OB3336_count] = lng_int%100000/10000 + 0x30;	// 4
			NB_NOTIFY5514_CMD[41+NB_OB3336_count] = lng_int%10000/1000 + 0x30;	// 6
			NB_NOTIFY5514_CMD[42+NB_OB3336_count] = lng_int%1000/100 + 0x30;	// 3
			NB_NOTIFY5514_CMD[43+NB_OB3336_count] = lng_int%100/10 + 0x30;	// 7
			NB_NOTIFY5514_CMD[44+NB_OB3336_count] = lng_int%10/1 + 0x30;	// 2
			printf("longitude=%d\r\n", lng_int);

			// send latlng information to cloud
			Send_Cmd(NB_NOTIFY5513_CMD, 50+NB_OB3336_count, "OK");
			HAL_UART_Transmit(&huart2, NB_NOTIFY5513_CMD, 50+NB_OB3336_count, 1000);
			Send_Cmd(NB_NOTIFY5514_CMD, 52+NB_OB3336_count, "OK");
			HAL_UART_Transmit(&huart2, NB_NOTIFY5514_CMD, 52+NB_OB3336_count, 1000);
		}
	}
}
/* USER CODE END 4 */

void Error_Handler(void)
{
  __disable_irq();
  while (1)
  {
  }
}
